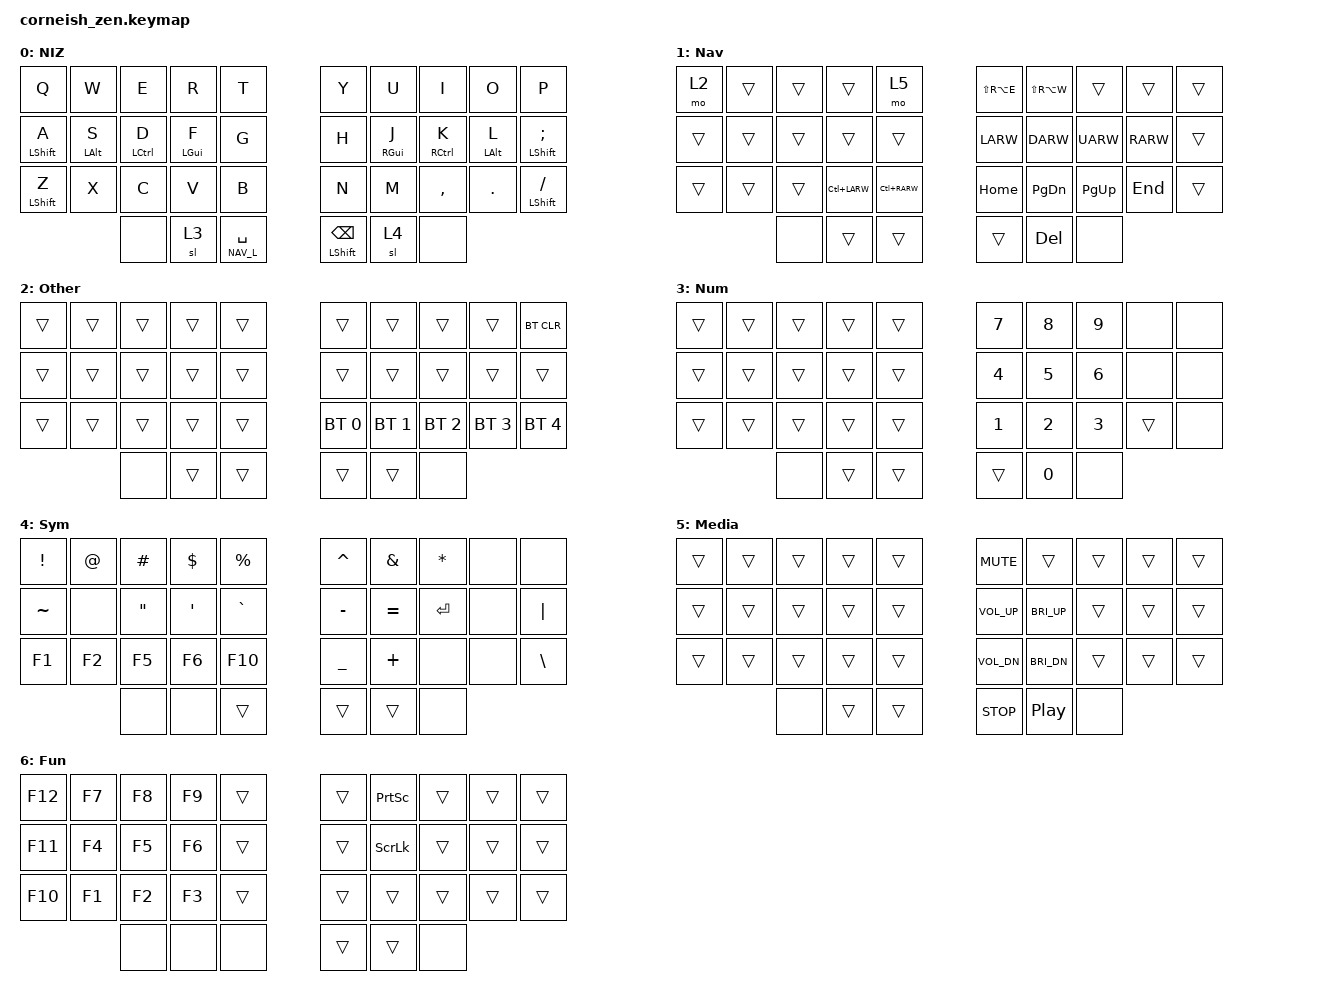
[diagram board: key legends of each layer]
#include <behaviors.dtsi>
#include <dt-bindings/zmk/keys.h>
#include <dt-bindings/zmk/bt.h>
#include <dt-bindings/zmk/outputs.h>

/ {
  chosen {
    //zmk,matrix_transform = &default_transform;
    zmk,matrix_transform = &five_column_transform;
  };
};

#define NAV_L 1
#define OTH_L 2
#define NUM_L 3
#define SYM_L 4
#define MED_L 5
#define FUN_L 6

#define COMBO(NAME, BINDINGS, KEYPOS) \
  combo_##NAME { \
    timeout-ms = <20>; \
    bindings = <BINDINGS>; \
    key-positions = <KEYPOS>; \
  };

// Using layer taps on thumbs, having quick tap as well helps w/ repeating space/backspace
&lt { quick_tap_ms = <200>; };

/ {
   combos {
     compatible = "zmk,combos";

       COMBO(med_mo, &tog NUM_L, 30 31)
       COMBO(enter, &kp RET, 16 17)
       COMBO(tab, &kp TAB, 12 13)
       COMBO(esc, &kp ESC, 13 14)
       COMBO(quote, &kp SQT, 15 16)
       COMBO(leftpar, &kp LEFT_PARENTHESIS, 5 6)
       COMBO(rightpar, &kp RIGHT_PARENTHESIS, 6 7)
       COMBO(vimslash, &kp FSLH, 27 28)
       COMBO(question, &kp QMARK, 21 22)
       COMBO(leftbracket, &kp LEFT_BRACKET, 3 13)
       COMBO(rightbracket, &kp RIGHT_BRACKET, 4 14)
       COMBO(leftbrace, &kp LEFT_BRACE, 5 15)
       COMBO(rightbrace, &kp RIGHT_BRACE, 6 16)
//     COMBO(fn_mo, &mo FUN_L, 32 33)

    };

    behaviors {
        hm: homerow_mods {
            compatible = "zmk,behavior-hold-tap";
            label = "homerow mods";
            #binding-cells = <2>;
            tapping_term_ms = <200>;
            flavor = "tap-preferred";
            bindings = <&kp>, <&kp>;
	    };
    };

keymap {
        compatible = "zmk,keymap";

        default_layer {
            label = "NIZ";
            bindings = <
        // ╭─────────────┬─────────────┬─────────────┬─────────────┬─────────────╮   ╭─────────────┬─────────────┬─────────────┬─────────────┬─────────────╮
             &kp Q         &kp W         &kp E         &kp R         &kp T             &kp Y         &kp U         &kp I         &kp O         &kp P
        // ├─────────────├─────────────┼─────────────┼─────────────┼─────────────┤   ├─────────────┼─────────────┼─────────────┼─────────────┤─────────────┤
             &hm LSHFT A   &hm LALT S    &hm LCTRL D   &hm LGUI  F   &kp G             &kp H         &hm RGUI J    &hm RCTRL K   &hm LALT L    &hm LSHFT SEMI
        // ├─────────────├─────────────┼─────────────┼─────────────┼─────────────┤   ├─────────────┼─────────────┼─────────────┼─────────────┤─────────────┤
             &hm LSHFT Z   &kp X         &kp C         &kp V         &kp B             &kp N         &kp M         &kp COMMA     &kp DOT       &hm LSHFT FSLH
        // ╰─────────────┴─────────────┴─────────────┴─────────────┼─────────────┤   ├─────────────┼─────────────┼─────────────┴─────────────┴─────────────╯
                                         &none         &sl 3         &lt NAV_L SPACE   &mt LSHFT BKSP  &sl 4       &none 
        //                                           ╰─────────────┴─────────────╯   ╰─────────────┴─────────────╯
            >;
        };

        nav_layer {
            label = "Nav";
            bindings = <
        // ╭─────────────┬─────────────┬─────────────┬─────────────┬─────────────╮   ╭─────────────┬─────────────┬─────────────┬─────────────┬─────────────╮
                &mo 2      &trans        &trans         &trans        &mo 5            &kp LS(RA(E)) &kp LS(RA(W))  &trans       &trans        &trans
        // ├─────────────├─────────────┼─────────────┼─────────────┼─────────────┤   ├─────────────┼─────────────┼─────────────┼─────────────┤─────────────┤
                &trans     &trans        &trans         &trans        &trans           &kp LARW      &kp DARW       &kp UARW     &kp RARW      &trans
        // ├─────────────├─────────────┼─────────────┼─────────────┼─────────────┤   ├─────────────┼─────────────┼─────────────┼─────────────┤─────────────┤
                &trans     &trans        &trans         &kp LC(LARW)  &kp LC(RARW)     &kp HOME      &kp PG_DN      &kp PG_UP    &kp END       &trans
        // ╰─────────────┴─────────────┴─────────────┴─────────────┼─────────────┤   ├─────────────┼─────────────┼─────────────┴─────────────┴─────────────╯
                                         &none          &trans        &trans           &trans        &kp DEL        &none 
        //                                           ╰─────────────┴─────────────╯   ╰─────────────┴─────────────╯
            >;
        };

        other_layer {
            label = "Other";
            bindings = <
        // ╭─────────────┬─────────────┬─────────────┬─────────────┬─────────────╮   ╭─────────────┬─────────────┬─────────────┬─────────────┬─────────────╮
                &trans	   &trans       &trans         &trans        &trans            &trans        &trans         &trans       &trans        &bt BT_CLR
        // ├─────────────├─────────────┼─────────────┼─────────────┼─────────────┤   ├─────────────┼─────────────┼─────────────┼─────────────┤─────────────┤
                &trans     &trans       &trans         &trans        &trans            &trans        &trans         &trans       &trans        &trans
        // ├─────────────├─────────────┼─────────────┼─────────────┼─────────────┤   ├─────────────┼─────────────┼─────────────┼─────────────┤─────────────┤
                &trans     &trans       &trans         &trans        &trans            &bt BT_SEL 0  &bt BT_SEL 1   &bt BT_SEL 2 &bt BT_SEL 3  &bt BT_SEL 4
        // ╰─────────────┴─────────────┴─────────────┴─────────────┼─────────────┤   ├─────────────┼─────────────┼─────────────┴─────────────┴─────────────╯
                                        &none          &trans        &trans            &trans        &trans         &none
        //                                           ╰─────────────┴─────────────╯   ╰─────────────┴─────────────╯
            >;
        };

        num_layer {
            label = "Num";
            bindings = <
        // ╭─────────────┬─────────────┬─────────────┬─────────────┬─────────────╮   ╭─────────────┬─────────────┬─────────────┬─────────────┬─────────────╮
              &trans        &trans        &trans       &trans        &trans            &kp N7        &kp N8        &kp N9        &none         &none
        // ├─────────────├─────────────┼─────────────┼─────────────┼─────────────┤   ├─────────────┼─────────────┼─────────────┼─────────────┤─────────────┤
              &trans        &trans        &trans       &trans        &trans            &kp N4        &kp N5        &kp N6        &none         &none
        // ├─────────────├─────────────┼─────────────┼─────────────┼─────────────┤   ├─────────────┼─────────────┼─────────────┼─────────────┤─────────────┤
              &trans        &trans        &trans       &trans        &trans            &kp N1        &kp N2        &kp N3        &trans        &none
        // ╰─────────────┴─────────────┴─────────────┴─────────────┼─────────────┤   ├─────────────┼─────────────┼─────────────┴─────────────┴─────────────╯
                                          &none        &trans        &trans            &trans        &kp N0        &none 
        //                                           ╰─────────────┴─────────────╯   ╰─────────────┴─────────────╯
            >;
        };

        sym_layer {
            label = "Sym";
            bindings = <
        // ╭─────────────┬─────────────┬─────────────┬─────────────┬─────────────╮   ╭─────────────┬─────────────┬─────────────┬─────────────┬─────────────╮
             &kp EXCL      &kp AT        &kp HASH      &kp DLLR      &kp PRCNT         &kp CARET     &kp AMPS      &kp ASTRK     &none         &none      
        // ├─────────────├─────────────┼─────────────┼─────────────┼─────────────┤   ├─────────────┼─────────────┼─────────────┼─────────────┤─────────────┤
             &kp TILDE     &none         &kp DQT       &kp SQT       &kp GRAVE         &kp MINUS     &kp EQUAL     &kp RET       &none         &kp PIPE
        // ├─────────────├─────────────┼─────────────┼─────────────┼─────────────┤   ├─────────────┼─────────────┼─────────────┼─────────────┤─────────────┤
             &kp F1        &kp F2        &kp F5        &kp F6        &kp F10           &kp UNDER     &kp PLUS      &none         &none         &kp BSLH
        // ╰─────────────┴─────────────┴─────────────┴─────────────┼─────────────┤   ├─────────────┼─────────────┼─────────────┴─────────────┴─────────────╯
                                         &none         &none         &trans            &trans        &trans        &none      
        //                                           ╰─────────────┴─────────────╯   ╰─────────────┴─────────────╯
            >;
        };

        media_layer {
            label = "Media";
            bindings = <
        // ╭─────────────┬─────────────┬─────────────┬─────────────┬─────────────╮   ╭─────────────┬─────────────┬─────────────┬─────────────┬─────────────╮
             &trans        &trans        &trans        &trans        &trans            &kp C_MUTE    &trans        &trans        &trans        &trans
        // ├─────────────├─────────────┼─────────────┼─────────────┼─────────────┤   ├─────────────┼─────────────┼─────────────┼─────────────┤─────────────┤
             &trans        &trans        &trans        &trans        &trans            &kp C_VOL_UP  &kp C_BRI_UP  &trans        &trans        &trans
        // ├─────────────├─────────────┼─────────────┼─────────────┼─────────────┤   ├─────────────┼─────────────┼─────────────┼─────────────┤─────────────┤
             &trans        &trans        &trans        &trans        &trans            &kp C_VOL_DN  &kp C_BRI_DN  &trans        &trans        &trans
        // ╰─────────────┴─────────────┴─────────────┴─────────────┼─────────────┤   ├─────────────┼─────────────┼─────────────┴─────────────┴─────────────╯
                                         &none         &trans        &trans            &kp C_STOP    &kp C_PLAY_PAUSE  &none
        //                                           ╰─────────────┴─────────────╯   ╰─────────────┴─────────────╯
            >;
        };

        fun_layer {
            label = "Fun";
            bindings = <
        // ╭─────────────┬─────────────┬─────────────┬─────────────┬─────────────╮   ╭─────────────┬─────────────┬─────────────┬─────────────┬─────────────╮
              &kp F12      &kp F7        &kp F8        &kp F9        &trans            &trans        &kp PSCRN     &trans        &trans        &trans
        // ├─────────────├─────────────┼─────────────┼─────────────┼─────────────┤   ├─────────────┼─────────────┼─────────────┼─────────────┤─────────────┤
              &kp F11      &kp F4        &kp F5        &kp F6        &trans            &trans        &kp SLCK      &trans        &trans        &trans
        // ├─────────────├─────────────┼─────────────┼─────────────┼─────────────┤   ├─────────────┼─────────────┼─────────────┼─────────────┤─────────────┤
              &kp F10      &kp F1        &kp F2        &kp F3        &trans            &trans        &trans        &trans        &trans        &trans
        // ╰─────────────┴─────────────┴─────────────┴─────────────┼─────────────┤   ├─────────────┼─────────────┼─────────────┴─────────────┴─────────────╯
                                         &none         &none         &none             &trans        &trans        &none
        //                                           ╰─────────────┴─────────────╯   ╰─────────────┴─────────────╯
            >;
        };
   };
};
